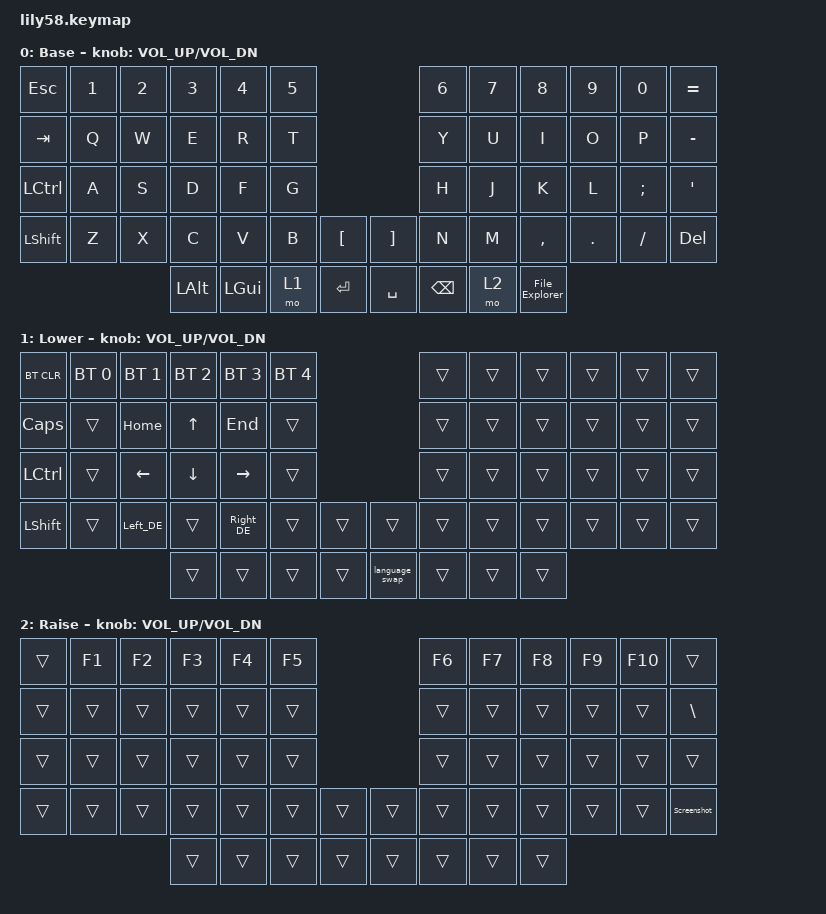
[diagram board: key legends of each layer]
/*
 * Copyright (c) 2020 The ZMK Contributors
 *
 * SPDX-License-Identifier: MIT
 */

#include <behaviors.dtsi>
#include <dt-bindings/zmk/bt.h>
#include <dt-bindings/zmk/keys.h>

/ {
    macros {
        File_Explorer: File_Explorer {
            compatible = "zmk,behavior-macro";
            #binding-cells = <0>;
            bindings = <&kp LG(E)>;
            label = "FILE_EXPLORER";
        };

        Screenshot: Screenshot {
            compatible = "zmk,behavior-macro";
            #binding-cells = <0>;
            bindings = <&kp LS(LG(S))>;
            label = "SCREENSHOT";
        };

        Left_DE: new_macro {
            compatible = "zmk,behavior-macro";
            #binding-cells = <0>;
            bindings = <&kp LC(LG(LEFT_ARROW))>;
            label = "NEW_MACRO";
        };

        Right_DE: Right_DE {
            compatible = "zmk,behavior-macro";
            #binding-cells = <0>;
            bindings = <&kp LC(LG(RIGHT_ARROW))>;
            label = "RIGHT_DE";
        };

        language_swap: language_swap {
            compatible = "zmk,behavior-macro";
            #binding-cells = <0>;
            bindings = <&kp LS(CAPSLOCK)>;
            label = "LANGUAGE_SWAP";
        };
    };

    keymap {
        compatible = "zmk,keymap";

        default_layer {
            // ------------------------------------------------------------------------------------------------------------
            // |  ESC  |  1  |  2  |  3   |  4   |  5   |                   |  6   |  7    |  8    |  9   |   0   |   `   |
            // |  TAB  |  Q  |  W  |  E   |  R   |  T   |                   |  Y   |  U    |  I    |  O   |   P   |   -   |
            // |  CTRL |  A  |  S  |  D   |  F   |  G   |                   |  H   |  J    |  K    |  L   |   ;   |   '   |
            // | SHIFT |  Z  |  X  |  C   |  V   |  B   |   "["  |  |  "]"  |  N   |  M    |  ,    |  .   |   /   | SHIFT |
            //                     | ALT  | GUI  | LOWER|  SPACE |  | ENTER | RAISE| BSPC  | GUI   |

            display-name = "Base";
            bindings = <
&kp ESC    &kp N1  &kp N2  &kp N3    &kp N4    &kp N5                           &kp N6         &kp N7  &kp N8          &kp N9   &kp N0    &kp EQUAL
&kp TAB    &kp Q   &kp W   &kp E     &kp R     &kp T                            &kp Y          &kp U   &kp I           &kp O    &kp P     &kp MINUS
&kp LCTRL  &kp A   &kp S   &kp D     &kp F     &kp G                            &kp H          &kp J   &kp K           &kp L    &kp SEMI  &kp SQT
&kp LSHFT  &kp Z   &kp X   &kp C     &kp V     &kp B   &kp LBKT      &kp RBKT   &kp N          &kp M   &kp COMMA       &kp DOT  &kp FSLH  &kp DELETE
                           &kp LALT  &kp LGUI  &mo 1   &kp RETURN    &kp SPACE  &kp BACKSPACE  &mo 2   &File_Explorer
            >;

            sensor-bindings = <&inc_dec_kp C_VOL_UP C_VOL_DN>;
        };

        lower_layer {
            // ------------------------------------------------------------------------------------------------------------
            // | BTCLR | BT1 | BT2 |  BT3 |  BT4 |  BT5 |                   |      |       |       |      |       |       |
            // |  F1   |  F2 |  F3 |  F4  |  F5  |  F6  |                   |  F7  |  F8   |  F9   |  F10 |  F11  |  F12  |
            // |   `   |  !  |  @  |  #   |  $   |  %   |                   |  ^   |  &    |  *    |  (   |   )   |   ~   |
            // |       |     |     |      |      |      |        |  |       |      |  _    |  +    |  {   |   }   |  "|"  |
            //                     |      |      |      |        |  |       |      |       |       |

            display-name = "Lower";
            bindings = <
&bt BT_CLR        &bt BT_SEL 0  &bt BT_SEL 1  &bt BT_SEL 2  &bt BT_SEL 3  &bt BT_SEL 4                            &trans  &trans  &trans  &trans  &trans  &trans
&kp CAPS          &trans        &kp HOME      &kp UP_ARROW  &kp END       &trans                                  &trans  &trans  &trans  &trans  &trans  &trans
&kp LEFT_CONTROL  &trans        &kp LEFT      &kp DOWN      &kp RIGHT     &trans                                  &trans  &trans  &trans  &trans  &trans  &trans
&kp LSHIFT        &trans        &Left_DE      &trans        &Right_DE     &trans        &trans    &trans          &trans  &trans  &trans  &trans  &trans  &trans
                                              &trans        &trans        &trans        &trans    &language_swap  &trans  &trans  &trans
            >;

            sensor-bindings = <&inc_dec_kp C_VOL_UP C_VOL_DN>;
        };

        raise_layer {
            // ------------------------------------------------------------------------------------------------------------
            // |       |     |     |      |      |      |                   |      |       |       |      |       |       |
            // |   `   |  1  |  2  |  3   |  4   |  5   |                   |  6   |   7   |   8   |  9   |   0   |       |
            // |   F1  |  F2 |  F3 |  F4  |  F5  |  F6  |                   |      |   <-  |   v   |  ^   |  ->   |       |
            // |   F7  |  F8 |  F9 |  F10 |  F11 |  F12 |        |  |       |  +   |   -   |   =   |  [   |   ]   |   \   |
            //                     |      |      |      |        |  |       |      |       |       |

            display-name = "Raise";
            bindings = <
&trans  &kp F1  &kp F2  &kp F3  &kp F4  &kp F5                    &kp F6  &kp F7  &kp F8  &kp F9  &kp F10  &trans
&trans  &trans  &trans  &trans  &trans  &trans                    &trans  &trans  &trans  &trans  &trans   &kp BACKSLASH
&trans  &trans  &trans  &trans  &trans  &trans                    &trans  &trans  &trans  &trans  &trans   &trans
&trans  &trans  &trans  &trans  &trans  &trans  &trans    &trans  &trans  &trans  &trans  &trans  &trans   &Screenshot
                        &trans  &trans  &trans  &trans    &trans  &trans  &trans  &trans
            >;

            sensor-bindings = <&inc_dec_kp C_VOL_UP C_VOL_DN>;
        };
    };
};
